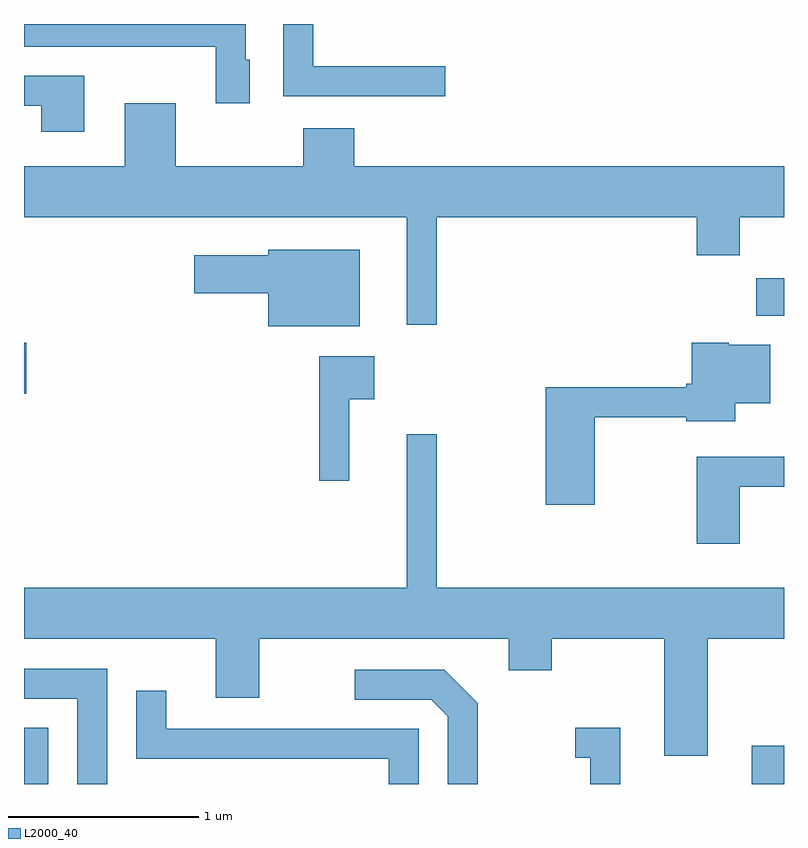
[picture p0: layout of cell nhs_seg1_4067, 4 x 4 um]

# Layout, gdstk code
import gdstk
lib = gdstk.Library(unit=1e-6, precision=1e-09)
def R(c, l, rs):  # rectangles x0, y0, x1, y1
    for r in rs: c.add(gdstk.rectangle(r[:2], r[2:], *l))
def P(c, l, *ps):  # polygons
    for p in ps: c.add(gdstk.Polygon(p, *l))
L2000_40 = (2000, 40)

nhs_seg1_4067 = lib.new_cell('nhs_seg1_4067')
R(nhs_seg1_4067, L2000_40, [(307.611,887.712,307.739,888.009), (311.441,887.712,311.611,887.914), (307.611,889.766,307.624,890.034), (311.466,890.176,311.611,890.374)])
P(nhs_seg1_4067, L2000_40, [(308.799,891.524),(308.779,891.524),(308.779,891.712),(307.611,891.712),(307.611,891.591),(308.621,891.591),(308.621,891.296),(308.799,891.296)],
  [(309.828,891.489),(309.134,891.489),(309.134,891.712),(308.976,891.712),(308.976,891.331),(309.828,891.331)],
  [(307.929,891.439),(307.611,891.439),(307.611,891.281),(307.701,891.281),(307.701,891.146),(307.929,891.146)],
  [(309.784,890.696),(311.151,890.696),(311.151,890.496),(311.379,890.496),(311.379,890.696),(311.611,890.696),(311.611,890.964),(309.349,890.964),(309.349,891.164),(309.081,891.164),(309.081,890.964),(308.409,890.964),(308.409,891.294),(308.141,891.294),(308.141,890.964),(307.611,890.964),(307.611,890.696),(309.626,890.696),(309.626,890.128),(309.784,890.128)],
  [(309.379,890.524),(308.896,890.524),(308.896,890.494),(308.506,890.494),(308.506,890.296),(308.896,890.296),(308.896,890.121),(309.379,890.121)],
  [(310.614,889.641),(311.096,889.641),(311.096,889.621),(311.354,889.621),(311.354,889.716),(311.539,889.716),(311.539,890.024),(311.32,890.024),(311.32,890.034),(311.126,890.034),(311.126,889.819),(311.096,889.819),(311.096,889.799),(310.356,889.799),(310.356,889.181),(310.614,889.181)],
  [(309.324,889.736),(309.454,889.736),(309.454,889.964),(309.166,889.964),(309.166,889.308),(309.324,889.308)],
  [(311.209,888.476),(311.611,888.476),(311.611,888.744),(309.784,888.744),(309.784,889.553),(309.626,889.553),(309.626,888.744),(307.611,888.744),(307.611,888.476),(308.621,888.476),(308.621,888.166),(308.849,888.166),(308.849,888.476),(310.161,888.476),(310.161,888.311),(310.389,888.311),(310.389,888.476),(310.981,888.476),(310.981,887.861),(311.209,887.861)],
  [(311.379,889.276),(311.611,889.276),(311.611,889.434),(311.151,889.434),(311.151,888.976),(311.379,888.976)],
  [(308.049,888.319),(307.611,888.319),(307.611,888.161),(307.891,888.161),(307.891,887.712),(308.049,887.712)],
  [(309.999,888.137),(309.822,888.314),(309.353,888.314),(309.353,888.156),(309.754,888.156),(309.841,888.069),(309.841,887.712),(309.999,887.712)],
  [(309.689,888.004),(308.359,888.004),(308.359,888.203),(308.201,888.203),(308.201,887.846),(309.531,887.846),(309.531,887.712),(309.689,887.712)],
  [(310.749,888.009),(310.513,888.009),(310.513,887.851),(310.591,887.851),(310.591,887.712),(310.749,887.712)])

lib.write_gds('nhs_seg1_4067.gds')
